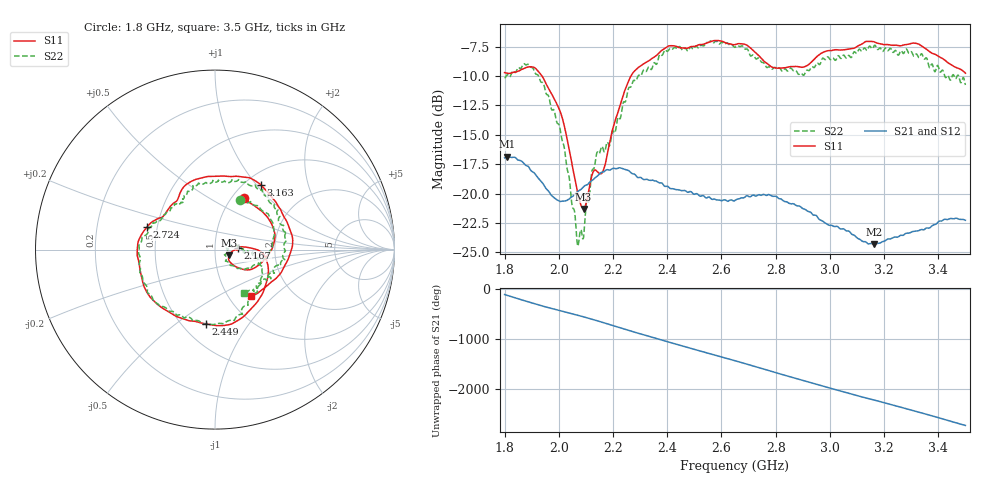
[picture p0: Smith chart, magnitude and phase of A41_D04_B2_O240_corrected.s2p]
! Created with skrf 1.9.0 (http://scikit-rf.org).
# Hz S RI R 50.0
!freq ReS11 ImS11 ReS21 ImS21 ReS12 ImS12 ReS22 ImS22
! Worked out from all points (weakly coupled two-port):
!   1601 points, 1.8 GHz to 3.5 GHz, reference 50 ohm
!   highest |S21| = -16.86 dB at 1.811 GHz (marker M1); lowest = -24.3 dB at 3.163 GHz (marker M2)
!   lowest |S11| = -21.3 dB at 2.091 GHz (marker M3), VSWR 1.19, Z = 58.6 - j3.76 ohm
!   |S11| at or under -10 dB: 1.938 GHz to 2.266 GHz (328.2 MHz wide, 15.6 % of centre)
!   |S22| runs from -24.5 to -7.0 dB; largest |S21 - S12| = 0.0023
!   S11 on the Smith chart (normalised r, x): 1.8 GHz: 1.14, +0.73; 2.167 GHz: 1.29, +0.03; 2.449 GHz: 0.65, -0.65; 2.724 GHz: 0.44, +0.13; 3.163 GHz: 1.18, +1.06; 3.5 GHz: 1.26, -0.73
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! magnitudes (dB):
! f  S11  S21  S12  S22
! 1.8 GHz  -9.7  -17.0  -17.0  -10.2
! 1.811 GHz  -9.8  -16.9  -16.9  -9.9
! 1.881 GHz  -9.3  -17.6  -17.6  -9.0
! 1.942 GHz  -10.2  -19.2  -19.2  -10.6
! 2.011 GHz  -13.5  -20.7  -20.6  -15.4
! 2.067 GHz  -19.6  -19.9  -19.9  -24.0
! 2.084 GHz  -21.1  -19.6  -19.6  -23.2
! 2.091 GHz  -21.3  -19.4  -19.5  -23.8
! 2.129 GHz  -18.1  -18.8  -18.7  -17.9
! 2.167 GHz  -17.9  -18.1  -18.1  -16.4
! 2.204 GHz  -14.1  -17.8  -17.9  -14.8
! 2.261 GHz  -10.2  -18.1  -18.1  -11.0
! 2.367 GHz  -8.1  -19.0  -19.0  -8.5
! 2.449 GHz  -7.6  -19.7  -19.7  -7.6
! 2.65 GHz  -7.3  -20.6  -20.6  -7.6
! 2.724 GHz  -8.0  -20.2  -20.2  -8.4
! 2.798 GHz  -9.3  -20.2  -20.2  -9.3
! 2.934 GHz  -8.8  -21.7  -21.7  -9.2
! 3.163 GHz  -7.1  -24.3  -24.3  -7.4
! 3.217 GHz  -7.3  -23.9  -23.8  -7.8
! 3.324 GHz  -7.3  -23.2  -23.1  -8.3
! 3.5 GHz  -9.8  -22.3  -22.2  -10.8
